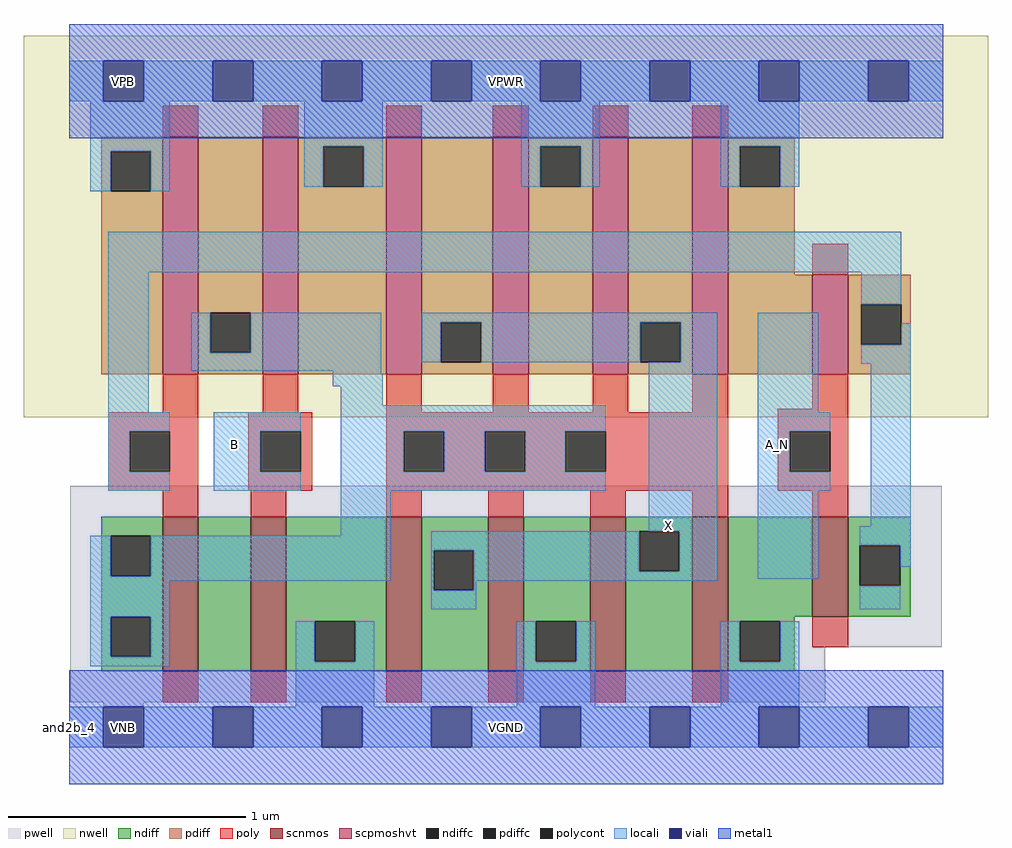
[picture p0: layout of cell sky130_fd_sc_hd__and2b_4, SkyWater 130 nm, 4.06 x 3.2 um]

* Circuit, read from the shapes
.subckt sky130_fd_sc_hd__and2b_4 A_N B VGND VNB VPB VPWR X
XM1 n1 n2 n3 VNB sky130_fd_pr__nfet_01v8 w=0.65 l=0.15
XM2 VGND B n1 VNB sky130_fd_pr__nfet_01v8 w=0.65 l=0.15
XM3 X n3 VGND VNB sky130_fd_pr__nfet_01v8 w=0.65 l=0.15 m=4
XM4 n2 A_N VGND VNB sky130_fd_pr__nfet_01v8 w=0.42 l=0.15
XM5 n3 n2 VPWR VPB sky130_fd_pr__pfet_01v8_hvt w=1 l=0.15
XM6 VPWR B n3 VPB sky130_fd_pr__pfet_01v8_hvt w=1 l=0.15
XM7 X n3 VPWR VPB sky130_fd_pr__pfet_01v8_hvt w=1 l=0.15 m=4
XM8 n2 A_N VPWR VPB sky130_fd_pr__pfet_01v8_hvt w=0.42 l=0.15
.ends

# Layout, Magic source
magic
tech sky130A
magscale 1 2
<< nwell >>
rect -38 261 774 582
<< pwell >>
rect 1 67 735 203
rect 1 21 637 67
rect 29 -17 63 21
<< scnmos >>
rect 79 47 109 177
rect 153 47 183 177
rect 267 47 297 177
rect 353 47 383 177
rect 439 47 469 177
rect 525 47 555 177
rect 626 93 656 177
<< scpmoshvt >>
rect 79 297 109 497
rect 163 297 193 497
rect 267 297 297 497
rect 357 297 387 497
rect 441 297 471 497
rect 525 297 555 497
rect 626 297 656 381
<< ndiff >>
rect 27 161 79 177
rect 27 127 35 161
rect 69 127 79 161
rect 27 93 79 127
rect 27 59 35 93
rect 69 59 79 93
rect 27 47 79 59
rect 109 47 153 177
rect 183 89 267 177
rect 183 55 207 89
rect 241 55 267 89
rect 183 47 267 55
rect 297 149 353 177
rect 297 115 307 149
rect 341 115 353 149
rect 297 47 353 115
rect 383 89 439 177
rect 383 55 393 89
rect 427 55 439 89
rect 383 47 439 55
rect 469 165 525 177
rect 469 131 480 165
rect 514 131 525 165
rect 469 47 525 131
rect 555 93 626 177
rect 656 153 709 177
rect 656 119 666 153
rect 700 119 709 153
rect 656 93 709 119
rect 555 89 611 93
rect 555 55 565 89
rect 599 55 611 89
rect 555 47 611 55
<< pdiff >>
rect 27 485 79 497
rect 27 451 35 485
rect 69 451 79 485
rect 27 297 79 451
rect 109 349 163 497
rect 109 315 119 349
rect 153 315 163 349
rect 109 297 163 315
rect 193 489 267 497
rect 193 455 214 489
rect 248 455 267 489
rect 193 297 267 455
rect 297 341 357 497
rect 297 307 313 341
rect 347 307 357 341
rect 297 297 357 307
rect 387 489 441 497
rect 387 455 397 489
rect 431 455 441 489
rect 387 297 441 455
rect 471 341 525 497
rect 471 307 481 341
rect 515 307 525 341
rect 471 297 525 307
rect 555 489 611 497
rect 555 455 565 489
rect 599 455 611 489
rect 555 381 611 455
rect 555 297 626 381
rect 656 356 709 381
rect 656 322 667 356
rect 701 322 709 356
rect 656 297 709 322
<< ndiffc >>
rect 35 127 69 161
rect 35 59 69 93
rect 207 55 241 89
rect 307 115 341 149
rect 393 55 427 89
rect 480 131 514 165
rect 666 119 700 153
rect 565 55 599 89
<< pdiffc >>
rect 35 451 69 485
rect 119 315 153 349
rect 214 455 248 489
rect 313 307 347 341
rect 397 455 431 489
rect 481 307 515 341
rect 565 455 599 489
rect 667 322 701 356
<< poly >>
rect 79 497 109 523
rect 163 497 193 523
rect 267 497 297 523
rect 357 497 387 523
rect 441 497 471 523
rect 525 497 555 523
rect 626 381 656 407
rect 79 265 109 297
rect 163 265 193 297
rect 267 265 297 297
rect 357 265 387 297
rect 441 265 471 297
rect 525 265 555 297
rect 626 268 656 297
rect 33 249 109 265
rect 33 215 51 249
rect 85 215 109 249
rect 33 199 109 215
rect 151 249 205 265
rect 151 215 161 249
rect 195 215 205 249
rect 151 199 205 215
rect 267 249 555 265
rect 267 215 282 249
rect 316 215 350 249
rect 384 215 418 249
rect 452 215 555 249
rect 267 199 555 215
rect 597 249 656 268
rect 597 215 607 249
rect 641 215 656 249
rect 597 199 656 215
rect 79 177 109 199
rect 153 177 183 199
rect 267 177 297 199
rect 353 177 383 199
rect 439 177 469 199
rect 525 177 555 199
rect 626 177 656 199
rect 626 67 656 93
rect 79 21 109 47
rect 153 21 183 47
rect 267 21 297 47
rect 353 21 383 47
rect 439 21 469 47
rect 525 21 555 47
<< polycont >>
rect 51 215 85 249
rect 161 215 195 249
rect 282 215 316 249
rect 350 215 384 249
rect 418 215 452 249
rect 607 215 641 249
<< locali >>
rect 0 527 29 561
rect 63 527 121 561
rect 155 527 213 561
rect 247 527 305 561
rect 339 527 397 561
rect 431 527 489 561
rect 523 527 581 561
rect 615 527 673 561
rect 707 527 736 561
rect 18 485 85 527
rect 18 451 35 485
rect 69 451 85 485
rect 198 489 264 527
rect 198 455 214 489
rect 248 455 264 489
rect 381 489 447 527
rect 381 455 397 489
rect 431 455 447 489
rect 549 489 615 527
rect 549 455 565 489
rect 599 455 615 489
rect 33 383 701 417
rect 33 265 67 383
rect 667 356 701 383
rect 103 315 119 349
rect 153 315 263 349
rect 103 300 263 315
rect 297 341 546 349
rect 297 307 313 341
rect 347 307 481 341
rect 515 307 546 341
rect 222 297 263 300
rect 222 287 264 297
rect 229 271 264 287
rect 33 249 85 265
rect 33 215 51 249
rect 33 199 85 215
rect 122 249 195 265
rect 122 215 161 249
rect 122 199 195 215
rect 229 249 452 271
rect 229 215 282 249
rect 316 215 350 249
rect 384 215 418 249
rect 229 199 452 215
rect 229 161 271 199
rect 488 165 546 307
rect 18 127 35 161
rect 69 127 271 161
rect 18 123 271 127
rect 305 149 480 165
rect 18 93 85 123
rect 305 115 307 149
rect 341 131 480 149
rect 514 131 546 165
rect 341 123 546 131
rect 580 265 631 349
rect 701 322 709 340
rect 667 306 709 322
rect 580 249 641 265
rect 580 215 607 249
rect 580 199 641 215
rect 580 125 631 199
rect 675 169 709 306
rect 666 153 709 169
rect 341 115 343 123
rect 305 99 343 115
rect 700 135 709 153
rect 666 99 700 119
rect 18 59 35 93
rect 69 59 85 93
rect 18 51 85 59
rect 191 55 207 89
rect 241 55 257 89
rect 191 17 257 55
rect 377 55 393 89
rect 427 55 443 89
rect 377 17 443 55
rect 549 55 565 89
rect 599 55 615 89
rect 549 17 615 55
rect 0 -17 29 17
rect 63 -17 121 17
rect 155 -17 213 17
rect 247 -17 305 17
rect 339 -17 397 17
rect 431 -17 489 17
rect 523 -17 581 17
rect 615 -17 673 17
rect 707 -17 736 17
<< viali >>
rect 29 527 63 561
rect 121 527 155 561
rect 213 527 247 561
rect 305 527 339 561
rect 397 527 431 561
rect 489 527 523 561
rect 581 527 615 561
rect 673 527 707 561
rect 29 -17 63 17
rect 121 -17 155 17
rect 213 -17 247 17
rect 305 -17 339 17
rect 397 -17 431 17
rect 489 -17 523 17
rect 581 -17 615 17
rect 673 -17 707 17
<< metal1 >>
rect 0 561 736 592
rect 0 527 29 561
rect 63 527 121 561
rect 155 527 213 561
rect 247 527 305 561
rect 339 527 397 561
rect 431 527 489 561
rect 523 527 581 561
rect 615 527 673 561
rect 707 527 736 561
rect 0 496 736 527
rect 0 17 736 48
rect 0 -17 29 17
rect 63 -17 121 17
rect 155 -17 213 17
rect 247 -17 305 17
rect 339 -17 397 17
rect 431 -17 489 17
rect 523 -17 581 17
rect 615 -17 673 17
rect 707 -17 736 17
rect 0 -48 736 -17
<< labels >>
flabel locali s 122 221 156 255 0 FreeSans 340 0 0 0 B
port 2 nsew signal input
flabel locali s 488 153 522 187 0 FreeSans 340 0 0 0 X
port 7 nsew signal output
flabel locali s 580 221 614 255 0 FreeSans 400 0 0 0 A_N
port 1 nsew signal input
flabel pwell s 29 -17 63 17 0 FreeSans 200 0 0 0 VNB
port 4 nsew ground bidirectional
flabel nwell s 29 527 63 561 0 FreeSans 200 0 0 0 VPB
port 5 nsew power bidirectional
flabel metal1 s 29 -17 63 17 0 FreeSans 200 0 0 0 VGND
port 3 nsew ground bidirectional abutment
flabel metal1 s 29 527 63 561 0 FreeSans 200 0 0 0 VPWR
port 6 nsew power bidirectional abutment
rlabel comment s 0 0 0 0 4 and2b_4
rlabel metal1 s 0 -48 736 48 1 VGND
port 3 nsew ground bidirectional abutment
rlabel metal1 s 0 496 736 592 1 VPWR
port 6 nsew power bidirectional abutment
<< properties >>
string FIXED_BBOX 0 0 736 544
string GDS_END 3833290
string GDS_FILE $PDKPATH/libs.ref/sky130_fd_sc_hd/gds/sky130_fd_sc_hd.gds
string GDS_START 3827632
string LEFclass CORE
string LEFsite unithd
string LEFsymmetry X Y R90
string path 0.000 0.000 18.400 0.000 
<< end >>
